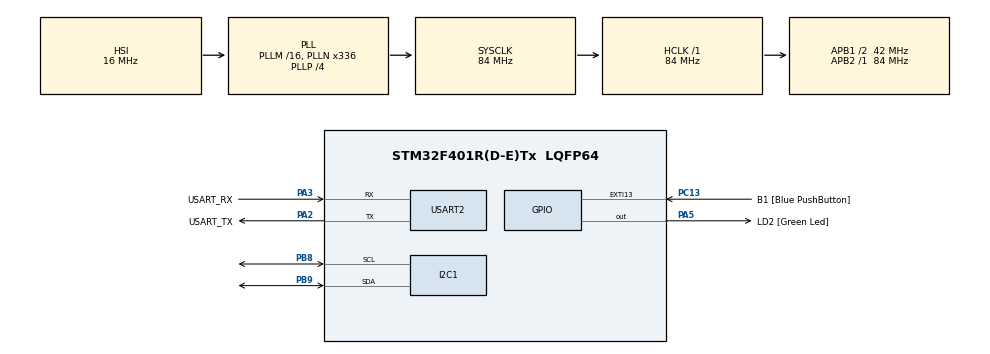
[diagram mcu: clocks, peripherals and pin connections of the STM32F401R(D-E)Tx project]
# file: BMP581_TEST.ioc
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Mcu.Family=STM32F4
Mcu.Name=STM32F401R(D-E)Tx
Mcu.Package=LQFP64
NVIC.PriorityGroup=NVIC_PRIORITYGROUP_4
PA13.GPIO_Label=TMS
PA13.Mode=Trace_Asynchronous_SW
PA13.Signal=SYS_JTMS-SWDIO
PA14.GPIO_Label=TCK
PA14.Mode=Trace_Asynchronous_SW
PA14.Signal=SYS_JTCK-SWCLK
PA2.GPIO_Label=USART_TX
PA2.GPIO_Mode=GPIO_MODE_AF_PP
PA2.GPIO_PuPd=GPIO_NOPULL
PA2.GPIO_Speed=GPIO_SPEED_FREQ_LOW
PA2.Mode=Asynchronous
PA2.Signal=USART2_TX
PA3.GPIO_Label=USART_RX
PA3.GPIO_Mode=GPIO_MODE_AF_PP
PA3.GPIO_PuPd=GPIO_NOPULL
PA3.GPIO_Speed=GPIO_SPEED_FREQ_LOW
PA3.Mode=Asynchronous
PA3.Signal=USART2_RX
PA5.GPIO_Label=LD2 [Green Led]
PA5.GPIO_Mode=GPIO_MODE_OUTPUT_PP
PA5.GPIO_PuPd=GPIO_NOPULL
PA5.GPIO_Speed=GPIO_SPEED_FREQ_LOW
PA5.Signal=GPIO_Output
PB3.GPIO_Label=SWO
PB3.Mode=Trace_Asynchronous_SW
PB3.Signal=SYS_JTDO-SWO
PB8.Mode=I2C
PB8.Signal=I2C1_SCL
PB9.Mode=I2C
PB9.Signal=I2C1_SDA
PC13-ANTI_TAMP.GPIO_Label=B1 [Blue PushButton]
PC13-ANTI_TAMP.GPIO_ModeDefaultEXTI=GPIO_MODE_IT_FALLING
PC13-ANTI_TAMP.GPIO_PuPd=GPIO_NOPULL
PC13-ANTI_TAMP.Signal=GPXTI13
PC14-OSC32_IN.Mode=LSE-External-Oscillator
PC14-OSC32_IN.Signal=RCC_OSC32_IN
PC15-OSC32_OUT.Mode=LSE-External-Oscillator
PC15-OSC32_OUT.Signal=RCC_OSC32_OUT
PH0\ -\ OSC_IN.Mode=HSE-External-Clock-Source
PH0\ -\ OSC_IN.Signal=RCC_OSC_IN
PH1\ -\ OSC_OUT.Mode=HSE-External-Clock-Source
PH1\ -\ OSC_OUT.Signal=RCC_OSC_OUT
ProjectManager.HeapSize=0x200
ProjectManager.StackSize=0x400
ProjectManager.TargetToolchain=STM32CubeIDE
RCC.48MHZClocksFreq_Value=48000000
RCC.AHBFreq_Value=84000000
RCC.APB1CLKDivider=RCC_HCLK_DIV2
RCC.APB1Freq_Value=42000000
RCC.APB1TimFreq_Value=84000000
RCC.APB2Freq_Value=84000000
RCC.APB2TimFreq_Value=84000000
RCC.CortexFreq_Value=84000000
RCC.HCLKFreq_Value=84000000
RCC.HSE_VALUE=8000000
RCC.HSI_VALUE=16000000
RCC.PLLN=336
RCC.PLLP=RCC_PLLP_DIV4
RCC.PLLQ=7
RCC.SYSCLKFreq_VALUE=84000000
RCC.SYSCLKSource=RCC_SYSCLKSOURCE_PLLCLK
RCC.VCOOutputFreq_Value=336000000
USART2.VirtualMode=VM_ASYNC
board=NUCLEO-F401RE

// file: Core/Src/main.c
/* USER CODE BEGIN Header */
/**
  ******************************************************************************
  * @file           : main.c
  * @brief          : Main program body
  ******************************************************************************
  * @attention
  *
  * Copyright (c) 2026 STMicroelectronics.
  * All rights reserved.
  *
  * This software is licensed under terms that can be found in the LICENSE file
  * in the root directory of this software component.
  * If no LICENSE file comes with this software, it is provided AS-IS.
  *
  ******************************************************************************
  */
/* USER CODE END Header */
#include "main.h"

/* USER CODE BEGIN PD */
#define BMP581_REG_CHIP_ID    0x01
#define BMP581_CHIP_ID        0x50
/* USER CODE END PD */

I2C_HandleTypeDef hi2c1;

UART_HandleTypeDef huart2;

/* USER CODE BEGIN PV */
HAL_StatusTypeDef bmp46_status;
HAL_StatusTypeDef bmp47_status;
HAL_StatusTypeDef bmp_id_status;
uint8_t bmp581_address;
uint8_t bmp581_chip_id;
/* USER CODE END PV */

void SystemClock_Config(void);
static void MX_GPIO_Init(void);
static void MX_I2C1_Init(void);
static void MX_USART2_UART_Init(void);

int main(void)
{

  /* MCU Configuration--------------------------------------------------------*/

  /* Reset of all peripherals, Initializes the Flash interface and the Systick. */
  HAL_Init();

  /* Configure the system clock */
  SystemClock_Config();

  /* Initialize all configured peripherals */
  MX_GPIO_Init();
  MX_I2C1_Init();
  MX_USART2_UART_Init();
  /* USER CODE BEGIN 2 */
  HAL_Delay(10);

  /*
   * Check BMP581 I2C addresses (0x46 default, 0x47 alternate)
   */
  bmp46_status = HAL_I2C_IsDeviceReady(&hi2c1, (0x46 << 1), 3, 100);
  bmp47_status = HAL_I2C_IsDeviceReady(&hi2c1, (0x47 << 1), 3, 100);

  /*
   * Find which address responded
   */
  if (bmp46_status == HAL_OK)
  {
    bmp581_address = 0x46;
  }
  else if (bmp47_status == HAL_OK)
  {
    bmp581_address = 0x47;
  }
  else
  {
    bmp581_address = 0;
  }

  /*
   * Read BMP581 Chip ID (Register 0x01, expected 0x50)
   */
  if (bmp581_address != 0)
  {
    bmp_id_status = HAL_I2C_Mem_Read(
      &hi2c1,
      (bmp581_address << 1),
      0x01,
      I2C_MEMADD_SIZE_8BIT,
      &bmp581_chip_id,
      1,
      100
    );
  }
  /* USER CODE END 2 */

  /* Infinite loop */
  /* USER CODE BEGIN WHILE */
  while (1)
  {
    HAL_Delay(100);
    /* USER CODE END WHILE */

  }
}

void SystemClock_Config(void)
{
  RCC_OscInitTypeDef RCC_OscInitStruct = {0};
  RCC_ClkInitTypeDef RCC_ClkInitStruct = {0};

  /** Configure the main internal regulator output voltage
  */
  __HAL_RCC_PWR_CLK_ENABLE();
  __HAL_PWR_VOLTAGESCALING_CONFIG(PWR_REGULATOR_VOLTAGE_SCALE2);

  /** Initializes the RCC Oscillators according to the specified parameters
  * in the RCC_OscInitTypeDef structure.
  */
  RCC_OscInitStruct.OscillatorType = RCC_OSCILLATORTYPE_HSI;
  RCC_OscInitStruct.HSIState = RCC_HSI_ON;
  RCC_OscInitStruct.HSICalibrationValue = RCC_HSICALIBRATION_DEFAULT;
  RCC_OscInitStruct.PLL.PLLState = RCC_PLL_ON;
  RCC_OscInitStruct.PLL.PLLSource = RCC_PLLSOURCE_HSI;
  RCC_OscInitStruct.PLL.PLLM = 16;
  RCC_OscInitStruct.PLL.PLLN = 336;
  RCC_OscInitStruct.PLL.PLLP = RCC_PLLP_DIV4;
  RCC_OscInitStruct.PLL.PLLQ = 7;
  if (HAL_RCC_OscConfig(&RCC_OscInitStruct) != HAL_OK)
  {
    Error_Handler();
  }

  /** Initializes the CPU, AHB and APB buses clocks
  */
  RCC_ClkInitStruct.ClockType = RCC_CLOCKTYPE_HCLK|RCC_CLOCKTYPE_SYSCLK
                              |RCC_CLOCKTYPE_PCLK1|RCC_CLOCKTYPE_PCLK2;
  RCC_ClkInitStruct.SYSCLKSource = RCC_SYSCLKSOURCE_PLLCLK;
  RCC_ClkInitStruct.AHBCLKDivider = RCC_SYSCLK_DIV1;
  RCC_ClkInitStruct.APB1CLKDivider = RCC_HCLK_DIV2;
  RCC_ClkInitStruct.APB2CLKDivider = RCC_HCLK_DIV1;

  if (HAL_RCC_ClockConfig(&RCC_ClkInitStruct, FLASH_LATENCY_2) != HAL_OK)
  {
    Error_Handler();
  }
}

static void MX_I2C1_Init(void)
{

  hi2c1.Instance = I2C1;
  hi2c1.Init.ClockSpeed = 100000;
  hi2c1.Init.DutyCycle = I2C_DUTYCYCLE_2;
  hi2c1.Init.OwnAddress1 = 0;
  hi2c1.Init.AddressingMode = I2C_ADDRESSINGMODE_7BIT;
  hi2c1.Init.DualAddressMode = I2C_DUALADDRESS_DISABLE;
  hi2c1.Init.OwnAddress2 = 0;
  hi2c1.Init.GeneralCallMode = I2C_GENERALCALL_DISABLE;
  hi2c1.Init.NoStretchMode = I2C_NOSTRETCH_DISABLE;
  if (HAL_I2C_Init(&hi2c1) != HAL_OK)
  {
    Error_Handler();
  }

}

static void MX_USART2_UART_Init(void)
{

  huart2.Instance = USART2;
  huart2.Init.BaudRate = 115200;
  huart2.Init.WordLength = UART_WORDLENGTH_8B;
  huart2.Init.StopBits = UART_STOPBITS_1;
  huart2.Init.Parity = UART_PARITY_NONE;
  huart2.Init.Mode = UART_MODE_TX_RX;
  huart2.Init.HwFlowCtl = UART_HWCONTROL_NONE;
  huart2.Init.OverSampling = UART_OVERSAMPLING_16;
  if (HAL_UART_Init(&huart2) != HAL_OK)
  {
    Error_Handler();
  }

}

static void MX_GPIO_Init(void)
{
  GPIO_InitTypeDef GPIO_InitStruct = {0};

  /* GPIO Ports Clock Enable */
  __HAL_RCC_GPIOC_CLK_ENABLE();
  __HAL_RCC_GPIOH_CLK_ENABLE();
  __HAL_RCC_GPIOA_CLK_ENABLE();
  __HAL_RCC_GPIOB_CLK_ENABLE();

  /*Configure GPIO pin Output Level */
  HAL_GPIO_WritePin(LD2_GPIO_Port, LD2_Pin, GPIO_PIN_RESET);

  /*Configure GPIO pin : B1_Pin */
  GPIO_InitStruct.Pin = B1_Pin;
  GPIO_InitStruct.Mode = GPIO_MODE_IT_FALLING;
  GPIO_InitStruct.Pull = GPIO_NOPULL;
  HAL_GPIO_Init(B1_GPIO_Port, &GPIO_InitStruct);

  /*Configure GPIO pin : LD2_Pin */
  GPIO_InitStruct.Pin = LD2_Pin;
  GPIO_InitStruct.Mode = GPIO_MODE_OUTPUT_PP;
  GPIO_InitStruct.Pull = GPIO_NOPULL;
  GPIO_InitStruct.Speed = GPIO_SPEED_FREQ_LOW;
  HAL_GPIO_Init(LD2_GPIO_Port, &GPIO_InitStruct);

}

void Error_Handler(void)
{
  __disable_irq();
  while (1)
  {
  }
}
